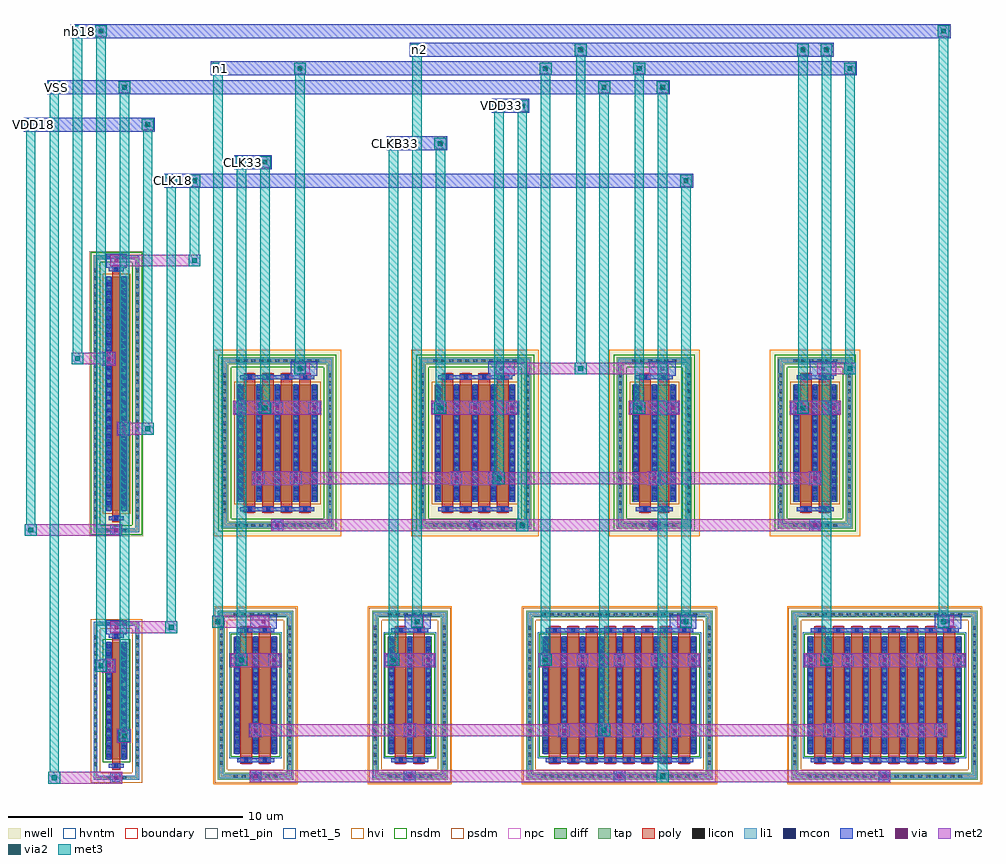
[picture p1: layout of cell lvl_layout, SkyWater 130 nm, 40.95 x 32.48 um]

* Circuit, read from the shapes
.subckt lvl_layout CLK18 CLK33 CLKB33 VDD18 VDD33 VSS n1 n2 nb18
XM1 VSS CLK18 nb18 VSS sky130_fd_pr__nfet_01v8 w=5 l=0.35
XM2 VSS n1 CLK33 VSS sky130_fd_pr__nfet_g5v0d10v5 w=5 l=0.5 m=2
XM3 VSS n2 CLKB33 VSS sky130_fd_pr__nfet_g5v0d10v5 w=5 l=0.5 m=2
XM4 VSS CLK18 n1 VSS sky130_fd_pr__nfet_g5v0d10v5 w=5 l=0.5 m=8
XM5 VSS nb18 n2 VSS sky130_fd_pr__nfet_g5v0d10v5 w=5 l=0.5 m=8
XM6 VDD18 CLK18 nb18 VDD18 sky130_fd_pr__pfet_01v8 w=10 l=0.35
XM7 VDD33 n1 CLK33 VDD33 sky130_fd_pr__pfet_g5v0d10v5 w=5 l=0.5 m=4
XM8 VDD33 n2 CLKB33 VDD33 sky130_fd_pr__pfet_g5v0d10v5 w=5 l=0.5 m=4
XM9 VDD33 n2 n1 VDD33 sky130_fd_pr__pfet_g5v0d10v5 w=5 l=0.5 m=2
XM10 VDD33 n1 n2 VDD33 sky130_fd_pr__pfet_g5v0d10v5 w=5 l=0.5 m=2
.ends

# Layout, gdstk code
import gdstk
lib = gdstk.Library(unit=1e-6, precision=1e-09)
def R(c, l, rs):  # rectangles x0, y0, x1, y1
    for r in rs: c.add(gdstk.rectangle(r[:2], r[2:], *l))
def A(c, l, x, y, w, h, nx, ny, dx, dy):  # array of equal rectangles
    R(c, l, [(x+i*dx, y+j*dy, x+i*dx+w, y+j*dy+h) for i in range(nx) for j in range(ny)])
nwell = (64, 20)
diff = (65, 20)
tap = (65, 44)
poly = (66, 20)
licon = (66, 44)
li1 = (67, 20)
mcon = (67, 44)
met1_5 = (68, 5)
met1_pin = (68, 16)
met1 = (68, 20)
via = (68, 44)
met2 = (69, 20)
via2 = (69, 44)
met3 = (70, 20)
hvi = (75, 20)
nsdm = (93, 44)
psdm = (94, 20)
npc = (95, 20)
hvntm = (125, 20)
boundary = (235, 4)

sky130_fd_pr__nfet_g5v0d = lib.new_cell('sky130_fd_pr__nfet_g5v0d10v5_TFQFRX')
R(sky130_fd_pr__nfet_g5v0d, diff, [(-0.935,-2.5,0.935,2.5)])
R(sky130_fd_pr__nfet_g5v0d, tap, [(-1.615,-3.61,1.615,-3.32), (-1.615,-3.32,-1.325,3.32), (1.325,-3.32,1.615,3.32), (-1.615,3.32,1.615,3.61)])
R(sky130_fd_pr__nfet_g5v0d, poly, [(-0.645,-2.94,-0.145,2.94), (0.145,-2.94,0.645,2.94)])
A(sky130_fd_pr__nfet_g5v0d, licon, -0.935, -3.55, 0.17, 0.17, 6, 2, 0.34, 6.93)
A(sky130_fd_pr__nfet_g5v0d, licon, -1.555, -2.975, 0.17, 0.17, 1, 18, 0, 0.34)
A(sky130_fd_pr__nfet_g5v0d, licon, 1.385, -2.975, 0.17, 0.17, 1, 18, 0, 0.34)
A(sky130_fd_pr__nfet_g5v0d, licon, -0.875, -2.295, 0.17, 0.17, 3, 14, 0.79, 0.34)
R(sky130_fd_pr__nfet_g5v0d, licon, [(-0.48,-2.86,-0.31,-2.69), (0.31,-2.86,0.48,-2.69), (-0.48,2.69,-0.31,2.86), (0.31,2.69,0.48,2.86)])
A(sky130_fd_pr__nfet_g5v0d, li1, -0.875, -2.52, 0.17, 5.04, 3, 1, 0.79, 0)
R(sky130_fd_pr__nfet_g5v0d, li1, [(-1.555,-3.55,1.555,-3.38), (-1.555,-3.38,-1.385,3.38), (1.385,-3.38,1.555,3.38), (-0.79,-2.86,0.79,-2.69), (-0.79,2.69,0.79,2.86), (-1.555,3.38,1.555,3.55)])
A(sky130_fd_pr__nfet_g5v0d, mcon, -0.875, -2.425, 0.17, 0.17, 3, 14, 0.79, 0.36)
R(sky130_fd_pr__nfet_g5v0d, mcon, [(-0.48,-2.86,-0.31,-2.69), (0.31,-2.86,0.48,-2.69), (-0.48,2.69,-0.31,2.86), (0.31,2.69,0.48,2.86)])
A(sky130_fd_pr__nfet_g5v0d, met1, -0.905, -2.5, 0.23, 5, 3, 1, 0.79, 0)
R(sky130_fd_pr__nfet_g5v0d, met1, [(-0.625,-2.89,-0.165,-2.86), (0.165,-2.89,0.625,-2.86), (-0.79,-2.86,0.79,-2.69), (-0.625,-2.69,-0.165,-2.66), (0.165,-2.69,0.625,-2.66), (-0.625,2.66,-0.165,2.69), (0.165,2.66,0.625,2.69), (-0.79,2.69,0.79,2.86), (-0.625,2.86,-0.165,2.89), (0.165,2.86,0.625,2.89)])
R(sky130_fd_pr__nfet_g5v0d, hvi, [(-1.8,-3.795,1.8,3.795)])
R(sky130_fd_pr__nfet_g5v0d, nsdm, [(-1.06,-2.625,1.06,2.625)])
R(sky130_fd_pr__nfet_g5v0d, psdm, [(-1.74,-3.735,1.74,-3.195), (-1.74,-3.195,-1.2,3.195), (1.2,-3.195,1.74,3.195), (-1.74,3.195,1.74,3.735)])
R(sky130_fd_pr__nfet_g5v0d, npc, [(-0.58,-2.96,-0.21,-2.59), (0.21,-2.96,0.58,-2.59), (-0.58,2.59,-0.21,2.96), (0.21,2.59,0.58,2.96)])
R(sky130_fd_pr__nfet_g5v0d, hvntm, [(-1.12,-2.685,1.12,2.685)])
R(sky130_fd_pr__nfet_g5v0d, boundary, [(-1.47,-3.465,1.47,3.465)])
sky130_fd_pr__nfet_g5v0d.add(gdstk.Label('G', (0.395,2.775), layer=67, texttype=5))
sky130_fd_pr__nfet_g5v0d.add(gdstk.Label('G', (-0.395,2.775), layer=67, texttype=5))
sky130_fd_pr__nfet_g5v0d.add(gdstk.Label('B', (0,-3.465), layer=67, texttype=5))
sky130_fd_pr__nfet_g5v0d.add(gdstk.Label('D0', (-0.79,0), layer=67, texttype=5))
sky130_fd_pr__nfet_g5v0d.add(gdstk.Label('S1', (0,0), layer=67, texttype=5))

sky130_fd_pr__pfet_g5v0d = lib.new_cell('sky130_fd_pr__pfet_g5v0d10v5_T5LBLN')
R(sky130_fd_pr__pfet_g5v0d, nwell, [(-1.935,-3.985,1.935,3.985)])
R(sky130_fd_pr__pfet_g5v0d, diff, [(-0.935,-2.5,0.935,2.5)])
R(sky130_fd_pr__pfet_g5v0d, tap, [(-1.605,-3.655,1.605,-3.365), (-1.605,-3.365,-1.315,3.365), (1.315,-3.365,1.605,3.365), (-1.605,3.365,1.605,3.655)])
R(sky130_fd_pr__pfet_g5v0d, poly, [(-0.645,-2.985,-0.145,2.985), (0.145,-2.985,0.645,2.985)])
A(sky130_fd_pr__pfet_g5v0d, licon, -0.935, -3.595, 0.17, 0.17, 6, 2, 0.34, 7.02)
A(sky130_fd_pr__pfet_g5v0d, licon, -1.545, -2.975, 0.17, 0.17, 1, 18, 0, 0.34)
A(sky130_fd_pr__pfet_g5v0d, licon, 1.375, -2.975, 0.17, 0.17, 1, 18, 0, 0.34)
A(sky130_fd_pr__pfet_g5v0d, licon, -0.875, -2.295, 0.17, 0.17, 3, 14, 0.79, 0.34)
R(sky130_fd_pr__pfet_g5v0d, licon, [(-0.48,-2.905,-0.31,-2.735), (0.31,-2.905,0.48,-2.735), (-0.48,2.735,-0.31,2.905), (0.31,2.735,0.48,2.905)])
A(sky130_fd_pr__pfet_g5v0d, li1, -0.875, -2.52, 0.17, 5.04, 3, 1, 0.79, 0)
R(sky130_fd_pr__pfet_g5v0d, li1, [(-1.545,-3.595,1.545,-3.425), (-1.545,-3.425,-1.375,3.425), (1.375,-3.425,1.545,3.425), (-0.79,-2.905,0.79,-2.735), (-0.79,2.735,0.79,2.905), (-1.545,3.425,1.545,3.595)])
A(sky130_fd_pr__pfet_g5v0d, mcon, -0.875, -2.425, 0.17, 0.17, 3, 14, 0.79, 0.36)
R(sky130_fd_pr__pfet_g5v0d, mcon, [(-0.48,-2.905,-0.31,-2.735), (0.31,-2.905,0.48,-2.735), (-0.48,2.735,-0.31,2.905), (0.31,2.735,0.48,2.905)])
A(sky130_fd_pr__pfet_g5v0d, met1, -0.905, -2.5, 0.23, 5, 3, 1, 0.79, 0)
R(sky130_fd_pr__pfet_g5v0d, met1, [(-0.625,-2.935,-0.165,-2.905), (0.165,-2.935,0.625,-2.905), (-0.79,-2.905,0.79,-2.735), (-0.625,-2.735,-0.165,-2.705), (0.165,-2.735,0.625,-2.705), (-0.625,2.705,-0.165,2.735), (0.165,2.705,0.625,2.735), (-0.79,2.735,0.79,2.905), (-0.625,2.905,-0.165,2.935), (0.165,2.905,0.625,2.935)])
R(sky130_fd_pr__pfet_g5v0d, hvi, [(-1.935,-3.985,1.935,3.985)])
R(sky130_fd_pr__pfet_g5v0d, nsdm, [(-1.73,-3.78,1.73,-3.24), (-1.73,-3.24,-1.19,3.24), (1.19,-3.24,1.73,3.24), (-1.73,3.24,1.73,3.78)])
R(sky130_fd_pr__pfet_g5v0d, psdm, [(-1.06,-2.625,1.06,2.625)])
R(sky130_fd_pr__pfet_g5v0d, npc, [(-0.58,-3.005,-0.21,-2.635), (0.21,-3.005,0.58,-2.635), (-0.58,2.635,-0.21,3.005), (0.21,2.635,0.58,3.005)])
R(sky130_fd_pr__pfet_g5v0d, boundary, [(-1.46,-3.51,1.46,3.51)])
sky130_fd_pr__pfet_g5v0d.add(gdstk.Label('G', (0.395,2.82), layer=67, texttype=5))
sky130_fd_pr__pfet_g5v0d.add(gdstk.Label('G', (-0.395,2.82), layer=67, texttype=5))
sky130_fd_pr__pfet_g5v0d.add(gdstk.Label('B', (0,-3.51), layer=67, texttype=5))
sky130_fd_pr__pfet_g5v0d.add(gdstk.Label('D0', (-0.79,0), layer=67, texttype=5))
sky130_fd_pr__pfet_g5v0d.add(gdstk.Label('S1', (0,0), layer=67, texttype=5))

sky130_fd_pr__nfet_01v8_ = lib.new_cell('sky130_fd_pr__nfet_01v8_M2T339')
R(sky130_fd_pr__nfet_01v8_, diff, [(-0.465,-2.5,0.465,2.5)])
R(sky130_fd_pr__nfet_01v8_, tap, [(-0.975,-3.37,0.975,-3.2), (-0.975,-3.2,-0.805,3.2), (0.805,-3.2,0.975,3.2), (-0.975,3.2,0.975,3.37)])
R(sky130_fd_pr__nfet_01v8_, poly, [(-0.175,-2.94,0.175,2.94)])
A(sky130_fd_pr__nfet_01v8_, licon, -0.425, -3.37, 0.17, 0.17, 3, 2, 0.34, 6.57)
A(sky130_fd_pr__nfet_01v8_, licon, -0.975, -2.805, 0.17, 0.17, 1, 17, 0, 0.34)
A(sky130_fd_pr__nfet_01v8_, licon, 0.805, -2.805, 0.17, 0.17, 1, 17, 0, 0.34)
A(sky130_fd_pr__nfet_01v8_, licon, -0.405, -2.295, 0.17, 0.17, 1, 14, 0, 0.34)
A(sky130_fd_pr__nfet_01v8_, licon, 0.235, -2.295, 0.17, 0.17, 1, 14, 0, 0.34)
R(sky130_fd_pr__nfet_01v8_, licon, [(-0.085,-2.86,0.085,-2.69), (-0.085,2.69,0.085,2.86)])
R(sky130_fd_pr__nfet_01v8_, li1, [(-0.975,-3.37,0.975,-3.2), (-0.975,-3.2,-0.805,3.2), (0.805,-3.2,0.975,3.2), (-0.32,-2.86,0.32,-2.69), (-0.405,-2.52,-0.235,2.52), (0.235,-2.52,0.405,2.52), (-0.32,2.69,0.32,2.86), (-0.975,3.2,0.975,3.37)])
A(sky130_fd_pr__nfet_01v8_, mcon, -0.405, -2.425, 0.17, 0.17, 1, 14, 0, 0.36)
A(sky130_fd_pr__nfet_01v8_, mcon, 0.235, -2.425, 0.17, 0.17, 1, 14, 0, 0.36)
R(sky130_fd_pr__nfet_01v8_, mcon, [(-0.085,-2.86,0.085,-2.69), (-0.085,2.69,0.085,2.86)])
R(sky130_fd_pr__nfet_01v8_, met1, [(-0.155,-2.89,0.155,-2.86), (-0.32,-2.86,0.32,-2.69), (-0.155,-2.69,0.155,-2.66), (-0.435,-2.5,-0.205,2.5), (0.205,-2.5,0.435,2.5), (-0.155,2.66,0.155,2.69), (-0.32,2.69,0.32,2.86), (-0.155,2.86,0.155,2.89)])
R(sky130_fd_pr__nfet_01v8_, nsdm, [(-0.59,-2.625,0.59,2.625)])
R(sky130_fd_pr__nfet_01v8_, psdm, [(-1.1,-3.495,1.1,-3.075), (-1.1,-3.075,-0.68,3.075), (0.68,-3.075,1.1,3.075), (-1.1,3.075,1.1,3.495)])
R(sky130_fd_pr__nfet_01v8_, npc, [(-0.185,-2.96,0.185,-2.59), (-0.185,2.59,0.185,2.96)])
R(sky130_fd_pr__nfet_01v8_, boundary, [(-0.89,-3.285,0.89,3.285)])
sky130_fd_pr__nfet_01v8_.add(gdstk.Label('B', (0,-3.285), layer=67, texttype=5))
sky130_fd_pr__nfet_01v8_.add(gdstk.Label('D', (-0.32,0), layer=67, texttype=5))
sky130_fd_pr__nfet_01v8_.add(gdstk.Label('S', (0.32,0), layer=67, texttype=5))
sky130_fd_pr__nfet_01v8_.add(gdstk.Label('G', (0,2.775), layer=67, texttype=5))

sky130_fd_pr__pfet_01v8_ = lib.new_cell('sky130_fd_pr__pfet_01v8_66B4UM')
R(sky130_fd_pr__pfet_01v8_, nwell, [(-1.155,-6.095,1.155,6.095)])
R(sky130_fd_pr__pfet_01v8_, diff, [(-0.465,-5,0.465,5)])
R(sky130_fd_pr__pfet_01v8_, tap, [(-0.975,-5.915,0.975,-5.745), (-0.975,-5.745,-0.805,5.745), (0.805,-5.745,0.975,5.745), (-0.975,5.745,0.975,5.915)])
R(sky130_fd_pr__pfet_01v8_, poly, [(-0.175,-5.485,0.175,5.485)])
A(sky130_fd_pr__pfet_01v8_, licon, -0.425, -5.915, 0.17, 0.17, 3, 2, 0.34, 11.66)
A(sky130_fd_pr__pfet_01v8_, licon, -0.975, -5.355, 0.17, 0.17, 1, 32, 0, 0.34)
A(sky130_fd_pr__pfet_01v8_, licon, 0.805, -5.355, 0.17, 0.17, 1, 32, 0, 0.34)
A(sky130_fd_pr__pfet_01v8_, licon, -0.405, -4.845, 0.17, 0.17, 1, 29, 0, 0.34)
A(sky130_fd_pr__pfet_01v8_, licon, 0.235, -4.845, 0.17, 0.17, 1, 29, 0, 0.34)
R(sky130_fd_pr__pfet_01v8_, licon, [(-0.085,-5.405,0.085,-5.235), (-0.085,5.235,0.085,5.405)])
R(sky130_fd_pr__pfet_01v8_, li1, [(-0.975,-5.915,0.975,-5.745), (-0.975,-5.745,-0.805,5.745), (0.805,-5.745,0.975,5.745), (-0.32,-5.405,0.32,-5.235), (-0.405,-5.02,-0.235,5.02), (0.235,-5.02,0.405,5.02), (-0.32,5.235,0.32,5.405), (-0.975,5.745,0.975,5.915)])
A(sky130_fd_pr__pfet_01v8_, mcon, -0.405, -4.765, 0.17, 0.17, 1, 27, 0, 0.36)
A(sky130_fd_pr__pfet_01v8_, mcon, 0.235, -4.765, 0.17, 0.17, 1, 27, 0, 0.36)
R(sky130_fd_pr__pfet_01v8_, mcon, [(-0.085,-5.405,0.085,-5.235), (-0.085,5.235,0.085,5.405)])
R(sky130_fd_pr__pfet_01v8_, met1, [(-0.155,-5.435,0.155,-5.405), (-0.32,-5.405,0.32,-5.235), (-0.155,-5.235,0.155,-5.205), (-0.435,-5,-0.205,5), (0.205,-5,0.435,5), (-0.155,5.205,0.155,5.235), (-0.32,5.235,0.32,5.405), (-0.155,5.405,0.155,5.435)])
R(sky130_fd_pr__pfet_01v8_, nsdm, [(-1.1,-6.04,1.1,-5.62), (-1.1,-5.62,-0.68,5.62), (0.68,-5.62,1.1,5.62), (-1.1,5.62,1.1,6.04)])
R(sky130_fd_pr__pfet_01v8_, psdm, [(-0.59,-5.125,0.59,5.125)])
R(sky130_fd_pr__pfet_01v8_, npc, [(-0.185,-5.505,0.185,-5.135), (-0.185,5.135,0.185,5.505)])
R(sky130_fd_pr__pfet_01v8_, boundary, [(-0.89,-5.83,0.89,5.83)])
sky130_fd_pr__pfet_01v8_.add(gdstk.Label('B', (0,-5.83), layer=67, texttype=5))
sky130_fd_pr__pfet_01v8_.add(gdstk.Label('D', (-0.32,0), layer=67, texttype=5))
sky130_fd_pr__pfet_01v8_.add(gdstk.Label('S', (0.32,0), layer=67, texttype=5))
sky130_fd_pr__pfet_01v8_.add(gdstk.Label('G', (0,5.32), layer=67, texttype=5))

c_sky130_fd_pr__nfet_g5v0d = lib.new_cell('sky130_fd_pr__nfet_g5v0d10v5_5JV2TG')
R(c_sky130_fd_pr__nfet_g5v0d, diff, [(-3.305,-2.5,3.305,2.5)])
R(c_sky130_fd_pr__nfet_g5v0d, tap, [(-3.985,-3.61,3.985,-3.32), (-3.985,-3.32,-3.695,3.32), (3.695,-3.32,3.985,3.32), (-3.985,3.32,3.985,3.61)])
A(c_sky130_fd_pr__nfet_g5v0d, poly, -3.015, -2.94, 0.5, 5.88, 8, 1, 0.79, 0)
A(c_sky130_fd_pr__nfet_g5v0d, licon, -3.315, -3.55, 0.17, 0.17, 20, 2, 0.34, 6.93)
A(c_sky130_fd_pr__nfet_g5v0d, licon, -3.925, -2.975, 0.17, 0.17, 1, 18, 0, 0.34)
A(c_sky130_fd_pr__nfet_g5v0d, licon, 3.755, -2.975, 0.17, 0.17, 1, 18, 0, 0.34)
A(c_sky130_fd_pr__nfet_g5v0d, licon, -2.85, -2.86, 0.17, 0.17, 8, 2, 0.79, 5.55)
A(c_sky130_fd_pr__nfet_g5v0d, licon, -3.245, -2.295, 0.17, 0.17, 9, 14, 0.79, 0.34)
A(c_sky130_fd_pr__nfet_g5v0d, li1, -3.245, -2.52, 0.17, 5.04, 9, 1, 0.79, 0)
R(c_sky130_fd_pr__nfet_g5v0d, li1, [(-3.925,-3.55,3.925,-3.38), (-3.925,-3.38,-3.755,3.38), (3.755,-3.38,3.925,3.38), (-3.16,-2.86,3.16,-2.69), (-3.16,2.69,3.16,2.86), (-3.925,3.38,3.925,3.55)])
A(c_sky130_fd_pr__nfet_g5v0d, mcon, -2.85, -2.86, 0.17, 0.17, 8, 2, 0.79, 5.55)
A(c_sky130_fd_pr__nfet_g5v0d, mcon, -3.245, -2.425, 0.17, 0.17, 9, 14, 0.79, 0.36)
A(c_sky130_fd_pr__nfet_g5v0d, met1, -2.995, -2.89, 0.46, 0.03, 8, 2, 0.79, 0.2)
A(c_sky130_fd_pr__nfet_g5v0d, met1, -3.275, -2.5, 0.23, 5, 9, 1, 0.79, 0)
A(c_sky130_fd_pr__nfet_g5v0d, met1, -2.995, 2.66, 0.46, 0.03, 8, 2, 0.79, 0.2)
R(c_sky130_fd_pr__nfet_g5v0d, met1, [(-3.16,-2.86,3.16,-2.69), (-3.16,2.69,3.16,2.86)])
R(c_sky130_fd_pr__nfet_g5v0d, hvi, [(-4.17,-3.795,4.17,3.795)])
R(c_sky130_fd_pr__nfet_g5v0d, nsdm, [(-3.43,-2.625,3.43,2.625)])
R(c_sky130_fd_pr__nfet_g5v0d, psdm, [(-4.11,-3.735,4.11,-3.195), (-4.11,-3.195,-3.57,3.195), (3.57,-3.195,4.11,3.195), (-4.11,3.195,4.11,3.735)])
A(c_sky130_fd_pr__nfet_g5v0d, npc, -2.95, -2.96, 0.37, 0.37, 8, 2, 0.79, 5.55)
R(c_sky130_fd_pr__nfet_g5v0d, hvntm, [(-3.49,-2.685,3.49,2.685)])
R(c_sky130_fd_pr__nfet_g5v0d, boundary, [(-3.84,-3.465,3.84,3.465)])
c_sky130_fd_pr__nfet_g5v0d.add(gdstk.Label('G', (2.765,2.775), layer=67, texttype=5))
c_sky130_fd_pr__nfet_g5v0d.add(gdstk.Label('G', (1.975,2.775), layer=67, texttype=5))
c_sky130_fd_pr__nfet_g5v0d.add(gdstk.Label('G', (1.185,2.775), layer=67, texttype=5))
c_sky130_fd_pr__nfet_g5v0d.add(gdstk.Label('G', (0.395,2.775), layer=67, texttype=5))
c_sky130_fd_pr__nfet_g5v0d.add(gdstk.Label('G', (-0.395,2.775), layer=67, texttype=5))
c_sky130_fd_pr__nfet_g5v0d.add(gdstk.Label('G', (-1.185,2.775), layer=67, texttype=5))
c_sky130_fd_pr__nfet_g5v0d.add(gdstk.Label('G', (-1.975,2.775), layer=67, texttype=5))
c_sky130_fd_pr__nfet_g5v0d.add(gdstk.Label('G', (-2.765,2.775), layer=67, texttype=5))
c_sky130_fd_pr__nfet_g5v0d.add(gdstk.Label('B', (0,-3.465), layer=67, texttype=5))
c_sky130_fd_pr__nfet_g5v0d.add(gdstk.Label('D0', (-3.16,0), layer=67, texttype=5))
c_sky130_fd_pr__nfet_g5v0d.add(gdstk.Label('S1', (-2.37,0), layer=67, texttype=5))
c_sky130_fd_pr__nfet_g5v0d.add(gdstk.Label('D2', (-1.58,0), layer=67, texttype=5))
c_sky130_fd_pr__nfet_g5v0d.add(gdstk.Label('S3', (-0.79,0), layer=67, texttype=5))
c_sky130_fd_pr__nfet_g5v0d.add(gdstk.Label('D4', (0,0), layer=67, texttype=5))
c_sky130_fd_pr__nfet_g5v0d.add(gdstk.Label('S5', (0.79,0), layer=67, texttype=5))
c_sky130_fd_pr__nfet_g5v0d.add(gdstk.Label('D6', (1.58,0), layer=67, texttype=5))
c_sky130_fd_pr__nfet_g5v0d.add(gdstk.Label('S7', (2.37,0), layer=67, texttype=5))

c_sky130_fd_pr__pfet_g5v0d = lib.new_cell('sky130_fd_pr__pfet_g5v0d10v5_PHNGH3')
R(c_sky130_fd_pr__pfet_g5v0d, nwell, [(-2.725,-3.985,2.725,3.985)])
R(c_sky130_fd_pr__pfet_g5v0d, diff, [(-1.725,-2.5,1.725,2.5)])
R(c_sky130_fd_pr__pfet_g5v0d, tap, [(-2.395,-3.655,2.395,-3.365), (-2.395,-3.365,-2.105,3.365), (2.105,-3.365,2.395,3.365), (-2.395,3.365,2.395,3.655)])
A(c_sky130_fd_pr__pfet_g5v0d, poly, -1.435, -2.985, 0.5, 5.97, 4, 1, 0.79, 0)
A(c_sky130_fd_pr__pfet_g5v0d, licon, -1.785, -3.595, 0.17, 0.17, 11, 2, 0.34, 7.02)
A(c_sky130_fd_pr__pfet_g5v0d, licon, -2.335, -2.975, 0.17, 0.17, 1, 18, 0, 0.34)
A(c_sky130_fd_pr__pfet_g5v0d, licon, 2.165, -2.975, 0.17, 0.17, 1, 18, 0, 0.34)
A(c_sky130_fd_pr__pfet_g5v0d, licon, -1.27, -2.905, 0.17, 0.17, 4, 2, 0.79, 5.64)
A(c_sky130_fd_pr__pfet_g5v0d, licon, -1.665, -2.295, 0.17, 0.17, 5, 14, 0.79, 0.34)
A(c_sky130_fd_pr__pfet_g5v0d, li1, -1.665, -2.52, 0.17, 5.04, 5, 1, 0.79, 0)
R(c_sky130_fd_pr__pfet_g5v0d, li1, [(-2.335,-3.595,2.335,-3.425), (-2.335,-3.425,-2.165,3.425), (2.165,-3.425,2.335,3.425), (-1.58,-2.905,1.58,-2.735), (-1.58,2.735,1.58,2.905), (-2.335,3.425,2.335,3.595)])
A(c_sky130_fd_pr__pfet_g5v0d, mcon, -1.27, -2.905, 0.17, 0.17, 4, 2, 0.79, 5.64)
A(c_sky130_fd_pr__pfet_g5v0d, mcon, -1.665, -2.425, 0.17, 0.17, 5, 14, 0.79, 0.36)
A(c_sky130_fd_pr__pfet_g5v0d, met1, -1.415, -2.935, 0.46, 0.03, 4, 2, 0.79, 0.2)
A(c_sky130_fd_pr__pfet_g5v0d, met1, -1.695, -2.5, 0.23, 5, 5, 1, 0.79, 0)
A(c_sky130_fd_pr__pfet_g5v0d, met1, -1.415, 2.705, 0.46, 0.03, 4, 2, 0.79, 0.2)
R(c_sky130_fd_pr__pfet_g5v0d, met1, [(-1.58,-2.905,1.58,-2.735), (-1.58,2.735,1.58,2.905)])
R(c_sky130_fd_pr__pfet_g5v0d, hvi, [(-2.725,-3.985,2.725,3.985)])
R(c_sky130_fd_pr__pfet_g5v0d, nsdm, [(-2.52,-3.78,2.52,-3.24), (-2.52,-3.24,-1.98,3.24), (1.98,-3.24,2.52,3.24), (-2.52,3.24,2.52,3.78)])
R(c_sky130_fd_pr__pfet_g5v0d, psdm, [(-1.85,-2.625,1.85,2.625)])
A(c_sky130_fd_pr__pfet_g5v0d, npc, -1.37, -3.005, 0.37, 0.37, 4, 2, 0.79, 5.64)
R(c_sky130_fd_pr__pfet_g5v0d, boundary, [(-2.25,-3.51,2.25,3.51)])
c_sky130_fd_pr__pfet_g5v0d.add(gdstk.Label('G', (1.185,2.82), layer=67, texttype=5))
c_sky130_fd_pr__pfet_g5v0d.add(gdstk.Label('G', (0.395,2.82), layer=67, texttype=5))
c_sky130_fd_pr__pfet_g5v0d.add(gdstk.Label('G', (-0.395,2.82), layer=67, texttype=5))
c_sky130_fd_pr__pfet_g5v0d.add(gdstk.Label('G', (-1.185,2.82), layer=67, texttype=5))
c_sky130_fd_pr__pfet_g5v0d.add(gdstk.Label('B', (0,-3.51), layer=67, texttype=5))
c_sky130_fd_pr__pfet_g5v0d.add(gdstk.Label('D0', (-1.58,0), layer=67, texttype=5))
c_sky130_fd_pr__pfet_g5v0d.add(gdstk.Label('S1', (-0.79,0), layer=67, texttype=5))
c_sky130_fd_pr__pfet_g5v0d.add(gdstk.Label('D2', (0,0), layer=67, texttype=5))
c_sky130_fd_pr__pfet_g5v0d.add(gdstk.Label('S3', (0.79,0), layer=67, texttype=5))

lvl_layout = lib.new_cell('lvl_layout')
R(lvl_layout, li1, [(0.985,0.095,1.325,0.435), (6.935,0.155,7.275,0.495), (13.525,0.155,13.865,0.495), (22.485,0.155,22.825,0.495), (33.815,0.155,34.155,0.495), (0.985,10.675,1.325,11.015), (7.865,10.885,8.205,11.225), (16.315,10.885,16.655,11.225), (23.975,10.885,24.315,11.225), (30.845,10.885,31.185,11.225)])
R(lvl_layout, mcon, [(1.07,0.18,1.24,0.35), (7.02,0.24,7.19,0.41), (13.61,0.24,13.78,0.41), (22.57,0.24,22.74,0.41), (33.9,0.24,34.07,0.41), (1.07,10.76,1.24,10.93), (7.95,10.97,8.12,11.14), (16.4,10.97,16.57,11.14), (24.06,10.97,24.23,11.14), (30.93,10.97,31.1,11.14)])
R(lvl_layout, met1_5, [(5.5,30.37,5.7,30.77), (14,31.17,14.2,31.57), (-0.5,31.97,-0.3,32.37)])
R(lvl_layout, met1_pin, [(3.5,25.57,3.7,25.97), (6.5,26.37,6.7,26.77), (13,27.17,13.2,27.57), (-2.5,27.97,-2.3,28.37), (17.5,28.77,17.7,29.17), (-1.5,29.57,-1.3,29.97)])
A(lvl_layout, met1, 6.855, 2.04, 0.5, 0.5, 3, 1, 6.59, 0)
A(lvl_layout, met1, 21.615, 2.04, 0.5, 0.5, 3, 1, 1.58, 0)
A(lvl_layout, met1, 31.365, 2.04, 0.5, 0.5, 4, 1, 1.58, 0)
A(lvl_layout, met1, 19.245, 5.04, 0.5, 0.5, 5, 1, 1.58, 0)
A(lvl_layout, met1, 30.575, 5.04, 0.5, 0.5, 5, 1, 1.58, 0)
A(lvl_layout, met1, 13.47, 6.63, 1.13, 0.6, 3, 1, 11.33, 0)
A(lvl_layout, met1, 17.025, 12.815, 0.5, 0.5, 3, 1, 6.87, 0)
A(lvl_layout, met1, 6.205, 15.815, 0.5, 0.5, 3, 1, 1.58, 0)
A(lvl_layout, met1, 14.655, 15.815, 0.5, 0.5, 3, 1, 1.58, 0)
A(lvl_layout, met1, 17.05, 17.45, 1.13, 0.6, 3, 1, 6.87, 0)
R(lvl_layout, met1, [(0.905,0.015,1.405,0.515), (6.855,0.075,7.355,0.575), (13.445,0.075,13.945,0.575), (22.405,0.075,22.905,0.575), (33.735,0.075,34.235,0.575), (1.225,1.8,1.725,2.3), (0.585,4.8,1.085,5.3), (6.065,5.04,6.565,5.54), (7.645,5.04,8.145,5.54), (12.655,5.04,13.155,5.54), (14.235,5.04,14.735,5.54), (0.72,6.39,1.59,6.99), (6.88,6.63,8.01,7.23), (0.905,10.595,1.405,11.095), (7.785,10.805,8.285,11.305), (16.235,10.805,16.735,11.305), (23.895,10.805,24.395,11.305), (30.765,10.805,31.265,11.305), (6.995,12.815,7.495,13.315), (8.575,12.815,9.075,13.315), (15.445,12.815,15.945,13.315), (1.225,14.925,1.725,15.425), (23.105,15.815,23.605,16.315), (24.685,15.815,25.185,16.315), (29.975,15.815,30.475,16.315), (31.555,15.815,32.055,16.315), (8.6,17.45,9.73,18.05), (0.585,17.925,1.085,18.425), (0.72,22.06,1.59,22.66), (3.2,25.47,25.8,26.07), (6.2,26.27,7.8,26.87), (12.7,27.07,15.3,27.67), (-2.8,27.87,2.8,28.47), (17.2,28.67,18.8,29.27), (-1.8,29.47,24.8,30.07), (5.2,30.27,32.8,30.87), (13.7,31.07,31.8,31.67), (-0.8,31.87,36.8,32.47)])
A(lvl_layout, via, 7.03, 2.215, 0.15, 0.15, 3, 1, 6.59, 0)
A(lvl_layout, via, 21.79, 2.215, 0.15, 0.15, 3, 1, 1.58, 0)
A(lvl_layout, via, 31.54, 2.215, 0.15, 0.15, 4, 1, 1.58, 0)
A(lvl_layout, via, 19.42, 5.215, 0.15, 0.15, 5, 1, 1.58, 0)
A(lvl_layout, via, 30.75, 5.215, 0.15, 0.15, 5, 1, 1.58, 0)
A(lvl_layout, via, 13.96, 6.855, 0.15, 0.15, 3, 1, 11.33, 0)
A(lvl_layout, via, 17.2, 12.99, 0.15, 0.15, 3, 1, 6.87, 0)
A(lvl_layout, via, 6.38, 15.99, 0.15, 0.15, 3, 1, 1.58, 0)
A(lvl_layout, via, 14.83, 15.99, 0.15, 0.15, 3, 1, 1.58, 0)
A(lvl_layout, via, 17.54, 17.675, 0.15, 0.15, 3, 1, 6.87, 0)
R(lvl_layout, via, [(1.08,0.19,1.23,0.34), (7.03,0.25,7.18,0.4), (13.62,0.25,13.77,0.4), (22.58,0.25,22.73,0.4), (33.91,0.25,34.06,0.4), (1.4,1.975,1.55,2.125), (0.76,4.975,0.91,5.125), (6.24,5.215,6.39,5.365), (7.82,5.215,7.97,5.365), (12.83,5.215,12.98,5.365), (14.41,5.215,14.56,5.365), (1.08,6.615,1.23,6.765), (7.37,6.855,7.52,7.005), (1.08,10.77,1.23,10.92), (7.96,10.98,8.11,11.13), (16.41,10.98,16.56,11.13), (24.07,10.98,24.22,11.13), (30.94,10.98,31.09,11.13), (7.17,12.99,7.32,13.14), (8.75,12.99,8.9,13.14), (15.62,12.99,15.77,13.14), (1.4,15.1,1.55,15.25), (23.28,15.99,23.43,16.14), (24.86,15.99,25.01,16.14), (30.15,15.99,30.3,16.14), (31.73,15.99,31.88,16.14), (9.09,17.675,9.24,17.825), (0.76,18.1,0.91,18.25), (1.08,22.285,1.23,22.435), (3.425,25.695,3.575,25.845), (4.425,25.695,4.575,25.845), (25.425,25.695,25.575,25.845), (6.425,26.495,6.575,26.645), (7.425,26.495,7.575,26.645), (12.925,27.295,13.075,27.445), (14.925,27.295,15.075,27.445), (-2.575,28.095,-2.425,28.245), (2.425,28.095,2.575,28.245), (17.425,28.895,17.575,29.045), (18.425,28.895,18.575,29.045), (-1.575,29.695,-1.425,29.845), (1.425,29.695,1.575,29.845), (21.925,29.695,22.075,29.845), (24.425,29.695,24.575,29.845), (5.425,30.495,5.575,30.645), (8.925,30.495,9.075,30.645), (19.425,30.495,19.575,30.645), (23.425,30.495,23.575,30.645), (32.425,30.495,32.575,30.645), (13.925,31.295,14.075,31.445), (20.925,31.295,21.075,31.445), (30.425,31.295,30.575,31.445), (31.425,31.295,31.575,31.445), (-0.575,32.095,-0.425,32.245), (0.425,32.095,0.575,32.245), (36.425,32.095,36.575,32.245)])
R(lvl_layout, met2, [(-1.75,0.015,1.405,0.515), (6.855,0.075,7.355,0.08), (13.445,0.075,13.945,0.08), (22.405,0.075,22.905,0.08), (33.735,0.075,34.235,0.08), (6.855,0.08,34.235,0.58), (1.175,1.75,1.775,2.35), (6.805,1.99,7.405,2.04), (13.395,1.99,13.995,2.04), (19.985,1.99,25.325,2.04), (31.315,1.99,36.655,2.04), (6.805,2.04,36.655,2.54), (6.805,2.54,7.405,2.59), (13.395,2.54,13.995,2.59), (19.985,2.54,25.325,2.59), (31.315,2.54,36.655,2.59), (0.535,4.75,1.135,4.8), (0.25,4.8,1.135,5.3), (6.015,4.99,8.195,5.59), (12.605,4.99,14.785,5.59), (19.195,4.99,26.115,5.59), (30.525,4.99,37.445,5.59), (0.535,5.3,1.135,5.35), (0.905,6.44,3.75,6.94), (5.25,6.68,7.695,7.18), (13.75,6.68,14.285,7.18), (25.115,6.68,25.75,7.18), (36.25,6.68,36.945,7.18), (-2.75,10.595,1.405,11.095), (7.785,10.8,31.265,11.3), (7.785,11.3,8.285,11.305), (16.235,11.3,16.735,11.305), (23.895,11.3,24.395,11.305), (30.765,11.3,31.265,11.305), (6.945,12.765,9.125,12.81), (15.395,12.765,17.575,12.81), (23.845,12.765,24.445,12.81), (30.715,12.765,31.315,12.81), (6.945,12.81,31.315,13.31), (6.945,13.31,9.125,13.365), (15.395,13.31,17.575,13.365), (23.845,13.31,24.445,13.365), (30.715,13.31,31.315,13.365), (1.175,14.875,1.775,14.925), (1.175,14.925,2.75,15.425), (1.175,15.425,1.775,15.475), (6.155,15.765,9.915,16.365), (14.605,15.765,18.365,16.365), (23.055,15.765,25.235,16.365), (29.925,15.765,32.105,16.365), (8.75,17.5,9.415,18), (17.365,17.5,24.735,18), (31.105,17.5,32.75,18), (0.535,17.875,1.135,17.925), (-0.75,17.925,1.135,18.425), (0.535,18.425,1.135,18.475), (0.905,22.11,4.75,22.61), (3.25,25.52,3.75,26.02), (4.25,25.52,4.75,26.02), (25.25,25.52,25.75,26.02), (6.25,26.32,6.75,26.82), (7.25,26.32,7.75,26.82), (12.75,27.12,13.25,27.62), (14.75,27.12,15.25,27.62), (-2.75,27.92,-2.25,28.42), (2.25,27.92,2.75,28.42), (17.25,28.72,17.75,29.22), (18.25,28.72,18.75,29.22), (-1.75,29.52,-1.25,30.02), (1.25,29.52,1.75,30.02), (21.75,29.52,22.25,30.02), (24.25,29.52,24.75,30.02), (5.25,30.32,5.75,30.82), (8.75,30.32,9.25,30.82), (19.25,30.32,19.75,30.82), (23.25,30.32,23.75,30.82), (32.25,30.32,32.75,30.82), (13.75,31.12,14.25,31.62), (20.75,31.12,21.25,31.62), (30.25,31.12,30.75,31.62), (31.25,31.12,31.75,31.62), (-0.75,31.92,-0.25,32.42), (0.25,31.92,0.75,32.42), (36.25,31.92,36.75,32.42)])
A(lvl_layout, via2, 6.4, 5.19, 0.2, 0.2, 3, 1, 6.5, 0)
R(lvl_layout, via2, [(-1.6,0.165,-1.4,0.365), (24.4,0.23,24.6,0.43), (1.4,1.95,1.6,2.15), (21.9,2.19,22.1,2.39), (0.4,4.95,0.6,5.15), (31.4,5.19,31.6,5.39), (3.4,6.59,3.6,6.79), (5.4,6.83,5.6,7.03), (13.9,6.83,14.1,7.03), (25.4,6.83,25.6,7.03), (36.4,6.83,36.6,7.03), (-2.6,10.745,-2.4,10.945), (18.4,10.95,18.6,11.15), (17.4,12.96,17.6,13.16), (2.4,15.075,2.6,15.275), (7.4,15.965,7.6,16.165), (14.9,15.965,15.1,16.165), (23.4,15.965,23.6,16.165), (30.4,15.965,30.6,16.165), (8.9,17.65,9.1,17.85), (20.9,17.65,21.1,17.85), (32.4,17.65,32.6,17.85), (-0.6,18.075,-0.4,18.275), (4.4,22.26,4.6,22.46), (3.4,25.67,3.6,25.87), (4.4,25.67,4.6,25.87), (25.4,25.67,25.6,25.87), (6.4,26.47,6.6,26.67), (7.4,26.47,7.6,26.67), (12.9,27.27,13.1,27.47), (14.9,27.27,15.1,27.47), (-2.6,28.07,-2.4,28.27), (2.4,28.07,2.6,28.27), (17.4,28.87,17.6,29.07), (18.4,28.87,18.6,29.07), (-1.6,29.67,-1.4,29.87), (1.4,29.67,1.6,29.87), (21.9,29.67,22.1,29.87), (24.4,29.67,24.6,29.87), (5.4,30.47,5.6,30.67), (8.9,30.47,9.1,30.67), (19.4,30.47,19.6,30.67), (23.4,30.47,23.6,30.67), (32.4,30.47,32.6,30.67), (13.9,31.27,14.1,31.47), (20.9,31.27,21.1,31.47), (30.4,31.27,30.6,31.47), (31.4,31.27,31.6,31.47), (-0.6,32.07,-0.4,32.27), (0.4,32.07,0.6,32.27), (36.4,32.07,36.6,32.27)])
A(lvl_layout, met3, 6.25, 5.04, 0.5, 0.5, 3, 1, 6.5, 0)
R(lvl_layout, met3, [(-1.75,0.015,-1.25,0.515), (24.25,0.08,24.75,0.58), (-1.7,0.515,-1.3,29.52), (24.3,0.58,24.7,29.52), (1.25,1.8,1.75,2.3), (21.75,2.04,22.25,2.54), (1.3,2.3,1.7,29.52), (21.8,2.54,22.2,29.52), (0.25,4.8,0.75,5.3), (31.25,5.04,31.75,5.54), (0.3,5.3,0.7,31.92), (6.3,5.54,6.7,26.32), (12.8,5.54,13.2,27.12), (19.3,5.54,19.7,30.32), (31.3,5.54,31.7,31.12), (3.25,6.44,3.75,6.94), (5.25,6.68,5.75,7.18), (13.75,6.68,14.25,7.18), (25.25,6.68,25.75,7.18), (36.25,6.68,36.75,7.18), (3.3,6.94,3.7,25.52), (5.3,7.18,5.7,30.32), (13.8,7.18,14.2,31.12), (25.3,7.18,25.7,25.52), (36.3,7.18,36.7,31.92), (-2.75,10.595,-2.25,11.095), (18.25,10.8,18.75,11.3), (-2.7,11.095,-2.3,27.92), (18.3,11.3,18.7,28.72), (17.25,12.81,17.75,13.31), (17.3,13.31,17.7,28.72), (2.25,14.925,2.75,15.425), (2.3,15.425,2.7,27.92), (7.25,15.815,7.75,16.315), (14.75,15.815,15.25,16.315), (23.25,15.815,23.75,16.315), (30.25,15.815,30.75,16.315), (7.3,16.315,7.7,26.32), (14.8,16.315,15.2,27.12), (23.3,16.315,23.7,30.32), (30.3,16.315,30.7,31.12), (8.75,17.5,9.25,18), (20.75,17.5,21.25,18), (32.25,17.5,32.75,18), (-0.75,17.925,-0.25,18.425), (8.8,18,9.2,30.32), (20.8,18,21.2,31.12), (32.3,18,32.7,30.32), (-0.7,18.425,-0.3,31.92), (4.25,22.11,4.75,22.61), (4.3,22.61,4.7,25.52), (3.25,25.52,3.75,26.02), (4.25,25.52,4.75,26.02), (25.25,25.52,25.75,26.02), (6.25,26.32,6.75,26.82), (7.25,26.32,7.75,26.82), (12.75,27.12,13.25,27.62), (14.75,27.12,15.25,27.62), (-2.75,27.92,-2.25,28.42), (2.25,27.92,2.75,28.42), (17.25,28.72,17.75,29.22), (18.25,28.72,18.75,29.22), (-1.75,29.52,-1.25,30.02), (1.25,29.52,1.75,30.02), (21.75,29.52,22.25,30.02), (24.25,29.52,24.75,30.02), (5.25,30.32,5.75,30.82), (8.75,30.32,9.25,30.82), (19.25,30.32,19.75,30.82), (23.25,30.32,23.75,30.82), (32.25,30.32,32.75,30.82), (13.75,31.12,14.25,31.62), (20.75,31.12,21.25,31.62), (30.25,31.12,30.75,31.62), (31.25,31.12,31.75,31.62), (-0.75,31.92,-0.25,32.42), (0.25,31.92,0.75,32.42), (36.25,31.92,36.75,32.42)])
lvl_layout.add(gdstk.Reference(sky130_fd_pr__nfet_g5v0d, (7.105,3.79)))
lvl_layout.add(gdstk.Reference(sky130_fd_pr__nfet_g5v0d, (13.695,3.79)))
lvl_layout.add(gdstk.Reference(sky130_fd_pr__pfet_g5v0d, (24.145,14.565)))
lvl_layout.add(gdstk.Reference(sky130_fd_pr__pfet_g5v0d, (31.015,14.565)))
lvl_layout.add(gdstk.Reference(sky130_fd_pr__nfet_01v8_, (1.155,3.55)))
lvl_layout.add(gdstk.Reference(sky130_fd_pr__pfet_01v8_, (1.155,16.675)))
lvl_layout.add(gdstk.Reference(c_sky130_fd_pr__nfet_g5v0d, (33.985,3.79)))
lvl_layout.add(gdstk.Reference(c_sky130_fd_pr__nfet_g5v0d, (22.655,3.79)))
lvl_layout.add(gdstk.Reference(c_sky130_fd_pr__pfet_g5v0d, (16.485,14.565)))
lvl_layout.add(gdstk.Reference(c_sky130_fd_pr__pfet_g5v0d, (8.035,14.565)))
lvl_layout.add(gdstk.Label('nb18', (-0.4,32.17), layer=68, texttype=5))
lvl_layout.add(gdstk.Label('n1', (5.6,30.57), layer=68, texttype=5))
lvl_layout.add(gdstk.Label('n2', (14.1,31.37), layer=68, texttype=5))
lvl_layout.add(gdstk.Label('VSS', (-1.4,29.77), layer=68, texttype=5))
lvl_layout.add(gdstk.Label('VDD18', (-2.4,28.17), layer=68, texttype=5))
lvl_layout.add(gdstk.Label('CLKB33', (13.1,27.37), layer=68, texttype=5))
lvl_layout.add(gdstk.Label('CLK33', (6.6,26.57), layer=68, texttype=5))
lvl_layout.add(gdstk.Label('CLK18', (3.6,25.77), layer=68, texttype=5))
lvl_layout.add(gdstk.Label('VDD33', (17.6,28.97), layer=68, texttype=5))

lib.write_gds('lvl_layout.gds')
